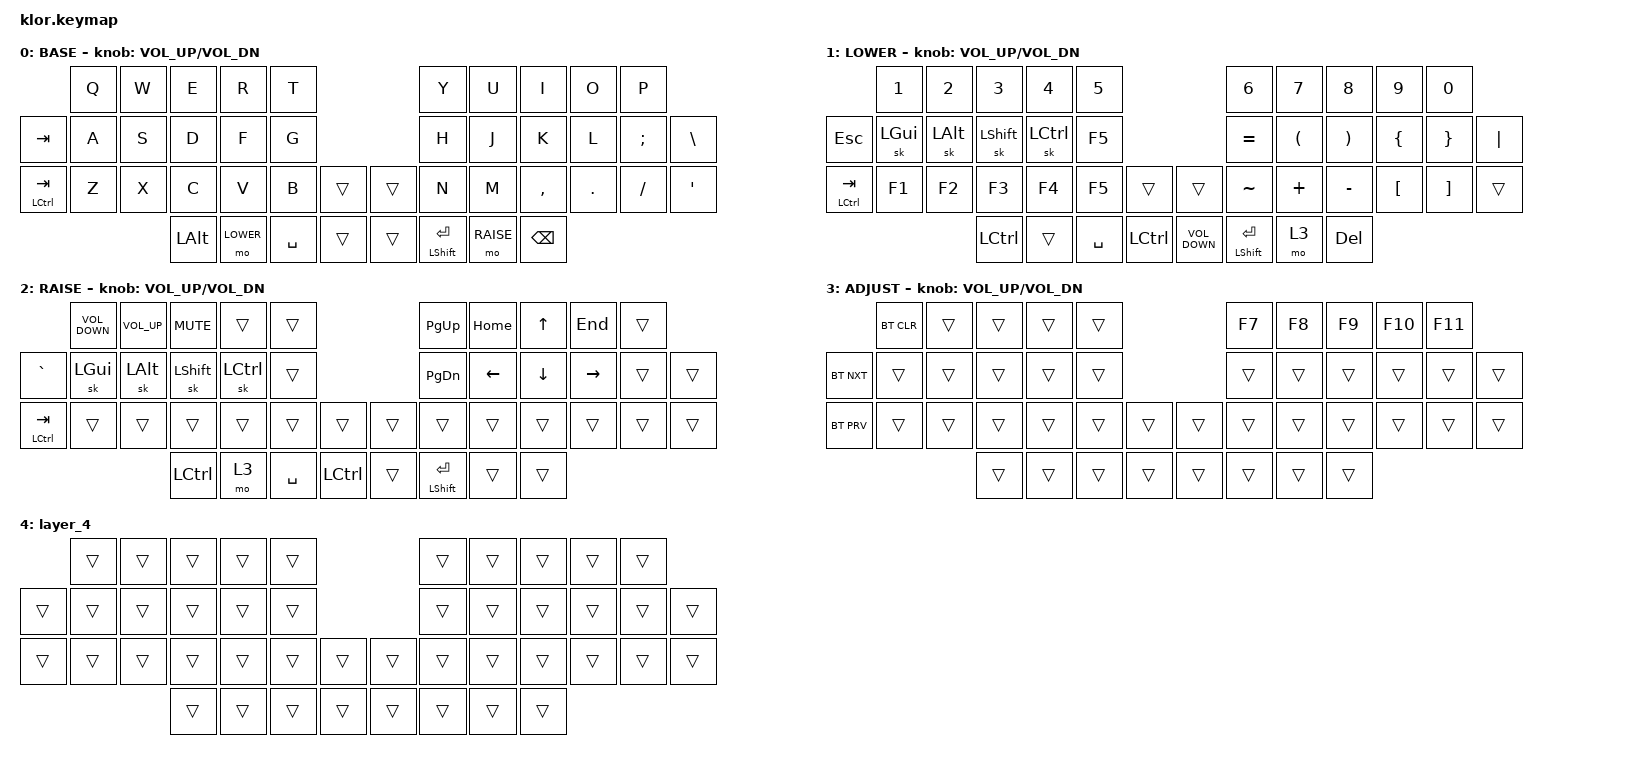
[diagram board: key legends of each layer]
//                               █         █    █            ▄▄▄▀▀▀▀▀▀▄▄▄        █▀▀▀▀▀▀▀▀▀▀█
//                               █        █     █          ▄▀            ▀▄      █          █
//                               █       █      █        ▄▀                ▀▄    █          █
//                               █      █       █        █                  █    █          █
//                               █     █        █       █                    █   █          █
//                               █    █         █       █                    █   █▄▄▄▄▄▄▄▄▄▄█
//                               █   █ █        █       █                    █   █      █
//                               █  █   █       █        █                  █    █       █
//                               █ █     █      █        ▀▄                ▄▀    █        █
//                               ██       █     █          ▀▄            ▄▀      █         █
//                               █         █    █▄▄▄▄▄▄▄▄    ▀▀▀▄▄▄▄▄▄▀▀▀        █          █
//
// ▄▄▄▄▄▄▄▄▄▄▄▄▄▄▄▄▄▄▄▄▄▄▄▄▄▄▄▄▄▄▄▄▄▄▄▄▄▄▄▄▄▄▄▄▄▄▄▄▄▄▄▄▄▄▄▄▄▄▄▄▄▄▄▄▄▄▄▄▄▄▄▄▄▄▄▄▄▄▄▄▄▄▄▄▄▄▄▄▄▄▄▄▄▄▄▄▄▄▄▄▄▄▄▄▄▄▄▄▄▄▄▄▄▄▄▄▄▄▄▄▄▄▄▄▄

#include <behaviors.dtsi>
#include <dt-bindings/zmk/bt.h>
#include <dt-bindings/zmk/keys.h>

#define BASE   0
#define LOWER  1
#define RAISE  2
#define ADJUST 3

&mt {
    tapping-term-ms = <130>;
    flavor = "balanced";
};

/ {
    behaviors {
        hm: homerow_mods {
            compatible = "zmk,behavior-hold-tap";
            label = "HOMEROW_MODS";
            #binding-cells = <2>;
            tapping-term-ms = <150>;
            quick_tap_ms = <0>;
            flavor = "tap-preferred";
            bindings = <&kp>, <&kp>;
        };

        skey: skey {
            compatible = "zmk,behavior-sticky-key";
            label = "SKEY";
            bindings = <&skey>;
            #binding-cells = <1>;
            release-after-ms = <500>;
            quick-release;
        };
    };

    combos {
        compatible = "zmk,combos";

        combo_esc {
            timeout-ms = <49>;
            key-positions = <0 1>;
            bindings = <&kp ESC>;
        };

        f1_combo {
            bindings = <&kp F1>;
            key-positions = <0 1>;
        };

        f2_combo {
            bindings = <&kp F2>;
            key-positions = <1 2>;
        };
    };

    keymap {
        compatible = "zmk,keymap";

        // ▄▄▄▄▄▄▄▄▄▄▄▄▄▄▄▄▄▄▄▄▄▄▄▄▄▄▄▄▄▄▄▄▄▄▄▄▄▄▄▄▄▄▄▄▄▄▄▄▄▄▄▄▄▄▄▄▄▄▄▄▄▄▄▄▄▄▄▄▄▄▄▄▄▄▄▄▄▄▄▄▄▄▄▄▄▄▄▄▄▄▄▄▄▄▄▄▄▄▄▄▄▄▄▄▄▄▄▄▄▄▄▄▄▄▄▄▄▄▄▄▄▄▄▄▄▄▄▄▄▄▄▄▄▄▄▄▄▄▄▄▄▄

        base_layer {
            // ┌───────────────────────────────────────────────────────────┐

            label = "BASE";

            // └───────────────────────────────────────────────────────────┘
            /*           ┌─────────┬─────────┬─────────┬─────────┬─────────┐                    ┌─────────┬─────────┬─────────┬─────────┬─────────┐
             │    Q    │    W    │    F    │    P    │    G    │                    │    J    │    L    │    U    │    Y    │    ;    │   
   ┌─────────┼─────────┼─────────┼─────────┼─────────┼─────────┤                    ├─────────┼─────────┼─────────┼─────────┼─────────┼─────────┐
   │   TAB   │    A    │    R    │    S    │    T    │    D    │                    │    H    │    N    │    E    │    I    │    O    │    "    │
   ├─────────┼─────────┼─────────┼─────────┼─────────┼─────────┤╭────────╮╭────────╮├─────────┼─────────┼─────────┼─────────┼─────────┼─────────┤
   │   DEL   │    Z    │    X    │    C    │    V    │    B    ││  MUTE  ││PLY/PSE ││    K    │    M    │    ,    │    .    │    /    │    \    │
   └─────────┴─────────┴─────────┼─────────┼─────────┼─────────┼╰────────╯╰────────╯┼─────────┼─────────┼─────────┼─────────┴─────────┴─────────┘
                                 │  CTRL   │  LOWER  │  SPACE  │   ALT   ││ CMD/WIN │  ENTER  │  RAISE  │  BSPCE  │  
                                 └─────────┴─────────┴─────────┴─────────┘└─────────┴─────────┴─────────┴─────────┘ */

            bindings = <
               &kp Q  &kp W  &kp E         &kp R      &kp T                      &kp Y                 &kp U      &kp I      &kp O    &kp P
&kp TAB        &kp A  &kp S  &kp D         &kp F      &kp G                      &kp H                 &kp J      &kp K      &kp L    &kp SEMICOLON  &kp BSLH
&mt LCTRL TAB  &kp Z  &kp X  &kp C         &kp V      &kp B      &trans  &trans  &kp N                 &kp M      &kp COMMA  &kp DOT  &kp FSLH       &kp SQT
                             &kp LEFT_ALT  &mo LOWER  &kp SPACE  &trans  &trans  &mt LEFT_SHIFT ENTER  &mo RAISE  &kp BSPC
            >;

            sensor-bindings = <&inc_dec_kp C_VOL_UP C_VOL_DN>;
        };

        // ▄▄▄▄▄▄▄▄▄▄▄▄▄▄▄▄▄▄▄▄▄▄▄▄▄▄▄▄▄▄▄▄▄▄▄▄▄▄▄▄▄▄▄▄▄▄▄▄▄▄▄▄▄▄▄▄▄▄▄▄▄▄▄▄▄▄▄▄▄▄▄▄▄▄▄▄▄▄▄▄▄▄▄▄▄▄▄▄▄▄▄▄▄▄▄▄▄▄▄▄▄▄▄▄▄▄▄▄▄▄▄▄▄▄▄▄▄▄▄▄▄▄▄▄▄▄▄▄▄▄▄▄▄▄▄▄▄▄▄▄▄▄

        lower_layer {
            // ┌───────────────────────────────────────────────────────────┐

            label = "LOWER";

            // └───────────────────────────────────────────────────────────┘
            /*           ┌─────────┬─────────┬─────────┬─────────┬─────────┐                    ┌─────────┬─────────┬─────────┬─────────┬─────────┐
             │         │         │    UP   │         │    {    │                    │    }    │    7    │    8    │    9    │    +    │
   ┌─────────┼─────────┼─────────┼─────────┼─────────┼─────────┤                    ├─────────┼─────────┼─────────┼─────────┼─────────┼─────────┐
   │         │         │   LEFT  │  DOWN   │  RIGHT  │    [    │                    │    ]    │    4    │    5    │    6    │    -    │         │
   ├─────────┼─────────┼─────────┼─────────┼─────────┼─────────┤╭────────╮╭────────╮├─────────┼─────────┼─────────┼─────────┼─────────┼─────────┤
   │         │         │   P UP  │ C LOCK  │ P DOWN  │    (    ││        ││        ││    )    │    1    │    2    │    3    │    *    │         │
   └─────────┴─────────┴─────────┼─────────┼─────────┼─────────┼╰────────╯╰────────╯┼─────────┼─────────┼─────────┼─────────┴─────────┴─────────┘
                                 │         │         │         │         ││         │         │    0    │         │  
                                 └─────────┴─────────┴─────────┴─────────┘└─────────┴─────────┴─────────┴─────────┘ */

            bindings = <
               &kp NUMBER_1  &kp NUMBER_2  &kp NUMBER_3    &kp NUMBER_4  &kp N5                                   &kp NUMBER_6      &kp N7                &kp N8                 &kp N9            &kp N0
&kp ESC        &sk LEFT_GUI  &sk LEFT_ALT  &sk LEFT_SHIFT  &sk LCTRL     &kp F5                                   &kp EQUAL         &kp LEFT_PARENTHESIS  &kp RIGHT_PARENTHESIS  &kp LEFT_BRACE    &kp RIGHT_BRACE    &kp PIPE
&mt LCTRL TAB  &kp F1        &kp F2        &kp F3          &kp F4        &kp F5     &trans     &trans             &kp TILDE         &kp PLUS              &kp MINUS              &kp LEFT_BRACKET  &kp RIGHT_BRACKET  &trans
                                           &kp LCTRL       &trans        &kp SPACE  &kp LCTRL  &kp C_VOLUME_DOWN  &mt LSHIFT ENTER  &mo 3                 &kp DEL
            >;

            sensor-bindings = <&inc_dec_kp C_VOL_UP C_VOL_DN>;
        };

        // ▄▄▄▄▄▄▄▄▄▄▄▄▄▄▄▄▄▄▄▄▄▄▄▄▄▄▄▄▄▄▄▄▄▄▄▄▄▄▄▄▄▄▄▄▄▄▄▄▄▄▄▄▄▄▄▄▄▄▄▄▄▄▄▄▄▄▄▄▄▄▄▄▄▄▄▄▄▄▄▄▄▄▄▄▄▄▄▄▄▄▄▄▄▄▄▄▄▄▄▄▄▄▄▄▄▄▄▄▄▄▄▄▄▄▄▄▄▄▄▄▄▄▄▄▄

        raise_layer {
            // ┌───────────────────────────────────────────────────────────┐

            label = "RAISE";

            // └───────────────────────────────────────────────────────────┘
            /*           ┌─────────┬─────────┬─────────┬─────────┬─────────┐                    ┌─────────┬─────────┬─────────┬─────────┬─────────┐
             │         │         │         │         │         │                    │         │         │    Ü    │         │         │
   ┌─────────┼─────────┼─────────┼─────────┼─────────┼─────────┤                    ├─────────┼─────────┼─────────┼─────────┼─────────┼─────────┐
   │    Ä    │         │    ß    │         │         │         │                    │         │         │         │         │    Ö    │         │
   ├─────────┼─────────┼─────────┼─────────┼─────────┼─────────┤╭────────╮╭────────╮├─────────┼─────────┼─────────┼─────────┼─────────┼─────────┤
   │         │         │         │         │         │         ││        ││        ││         │         │         │         │         │         │
   └─────────┴─────────┴─────────┼─────────┼─────────┼─────────┼╰────────╯╰────────╯┼─────────┼─────────┼─────────┼─────────┴─────────┴─────────┘
                                 │ ADJUST  │         │         │         ││         │         │         │         │  
                                 └─────────┴─────────┴─────────┴─────────┘└─────────┴─────────┴─────────┴─────────┘ */

            bindings = <
               &kp C_VOLUME_DOWN  &kp C_VOL_UP  &kp K_MUTE      &trans     &trans                        &kp PAGE_UP       &kp HOME        &kp UP_ARROW    &kp END          &trans
&kp GRAVE      &sk LEFT_GUI       &sk LEFT_ALT  &sk LEFT_SHIFT  &sk LCTRL  &trans                        &kp PAGE_DOWN     &kp LEFT_ARROW  &kp DOWN_ARROW  &kp RIGHT_ARROW  &trans  &trans
&mt LCTRL TAB  &trans             &trans        &trans          &trans     &trans     &trans     &trans  &trans            &trans          &trans          &trans           &trans  &trans
                                                &kp LCTRL       &mo 3      &kp SPACE  &kp LCTRL  &trans  &mt LSHIFT ENTER  &trans          &trans
            >;

            sensor-bindings = <&inc_dec_kp C_VOL_UP C_VOL_DN>;
        };

        // ▄▄▄▄▄▄▄▄▄▄▄▄▄▄▄▄▄▄▄▄▄▄▄▄▄▄▄▄▄▄▄▄▄▄▄▄▄▄▄▄▄▄▄▄▄▄▄▄▄▄▄▄▄▄▄▄▄▄▄▄▄▄▄▄▄▄▄▄▄▄▄▄▄▄▄▄▄▄▄▄▄▄▄▄▄▄▄▄▄▄▄▄▄▄▄▄▄▄▄▄▄▄▄▄▄▄▄▄▄▄▄▄▄▄▄▄▄▄▄▄▄▄▄▄▄

        adjust_layer {
            // ┌───────────────────────────────────────────────────────────┐

            label = "ADJUST";

            // └───────────────────────────────────────────────────────────┘
            /*           ┌─────────┬─────────┬─────────┬─────────┬─────────┐                    ┌─────────┬─────────┬─────────┬─────────┬─────────┐
             │         │         │         │         │         │                    │         │         │         │         │         │
   ┌─────────┼─────────┼─────────┼─────────┼─────────┼─────────┤                    ├─────────┼─────────┼─────────┼─────────┼─────────┼─────────┐
   │         │         │         │         │         │         │                    │         │         │         │         │         │         │
   ├─────────┼─────────┼─────────┼─────────┼─────────┼─────────┤╭────────╮╭────────╮├─────────┼─────────┼─────────┼─────────┼─────────┼─────────┤
   │         │         │         │         │         │         ││        ││        ││         │         │         │         │         │         │
   └─────────┴─────────┴─────────┼─────────┼─────────┼─────────┼╰────────╯╰────────╯┼─────────┼─────────┼─────────┼─────────┴─────────┴─────────┘
                                 │         │         │         │         ││         │         │         │         │  
                                 └─────────┴─────────┴─────────┴─────────┘└─────────┴─────────┴─────────┴─────────┘ */

            bindings = <
            &bt BT_CLR  &trans  &trans  &trans  &trans                  &kp F7  &kp F8  &kp F9  &kp F10  &kp F11
&bt BT_NXT  &trans      &trans  &trans  &trans  &trans                  &trans  &trans  &trans  &trans   &trans   &trans
&bt BT_PRV  &trans      &trans  &trans  &trans  &trans  &trans  &trans  &trans  &trans  &trans  &trans   &trans   &trans
                                &trans  &trans  &trans  &trans  &trans  &trans  &trans  &trans
            >;

            sensor-bindings = <&inc_dec_kp C_VOL_UP C_VOL_DN>;
        };

        layer_4 {
            bindings = <
        &trans  &trans  &trans  &trans  &trans                  &trans  &trans  &trans  &trans  &trans
&trans  &trans  &trans  &trans  &trans  &trans                  &trans  &trans  &trans  &trans  &trans  &trans
&trans  &trans  &trans  &trans  &trans  &trans  &trans  &trans  &trans  &trans  &trans  &trans  &trans  &trans
                        &trans  &trans  &trans  &trans  &trans  &trans  &trans  &trans
            >;
        };
    };

    conditional_layers {
        compatible = "zmk,conditional-layers";

        layer3 {
            if-layers = <1 2>;
            then-layer = <3>;
        };
    };
};
